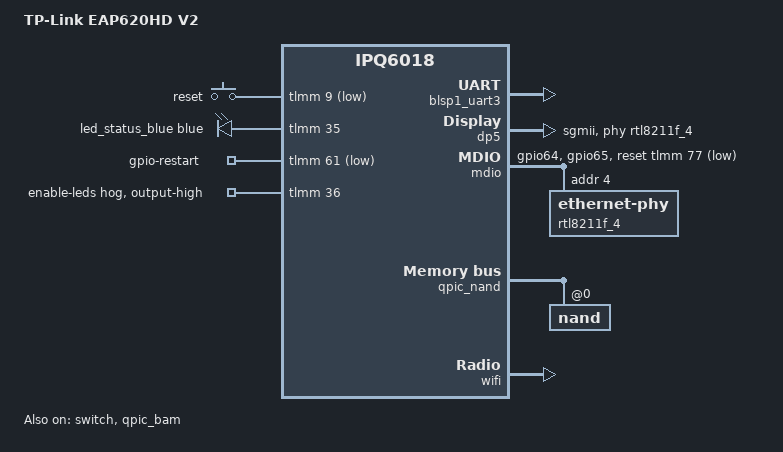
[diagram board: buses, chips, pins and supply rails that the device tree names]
// SPDX-License-Identifier: GPL-2.0-or-later OR MIT

/dts-v1/;

#include "ipq6018.dtsi"
#include "ipq6018-cp-cpu.dtsi"
#include "ipq6018-ess.dtsi"

#include <dt-bindings/gpio/gpio.h>
#include <dt-bindings/input/input.h>
#include <dt-bindings/leds/common.h>

/ {
	model = "TP-Link EAP620HD V2";
	compatible = "tplink,eap620hd-v2", "qcom,ipq6018";

	aliases {
		serial0 = &blsp1_uart3;
		led-boot = &led_status_blue;
                led-failsafe = &led_status_blue;
                led-running = &led_status_blue;
                led-upgrade = &led_status_blue;
	};

	chosen {
		stdout-path = "serial0:115200n8";
		bootargs-append = " ubi.block=0,rootfs root=/dev/ubiblock0_1";
	};

	keys {
		compatible = "gpio-keys";

		reset {
			label = "reset";
			gpios = <&tlmm 9 GPIO_ACTIVE_LOW>;
			linux,code = <KEY_RESTART>;
		};
	};

	leds {
		compatible = "gpio-leds";

                led_status_blue: status-blue {
                        function = LED_FUNCTION_STATUS;
                        gpios = <&tlmm 35 GPIO_ACTIVE_HIGH>;
                        color = <LED_COLOR_ID_BLUE>;
                };


	};

	gpio-restart {
		compatible = "gpio-restart";
		gpios = <&tlmm 61 GPIO_ACTIVE_LOW>;
		open-source;
	};
};

&blsp1_uart3 {
	pinctrl-0 = <&serial_3_pins>;
	pinctrl-names = "default";
	status = "okay";
};

&tlmm {
	mdio_pins: mdio-pins {
		mdc {
			pins = "gpio64";
			function = "mdc";
			drive-strength = <8>;
			bias-pull-up;
		};

		mdio {
			pins = "gpio65";
			function = "mdio";
			drive-strength = <8>;
			bias-pull-up;
		};
	};

	led_enable {
		gpio-hog;
		output-high;
		gpios = <36 GPIO_ACTIVE_HIGH>;
		line-name = "enable-leds";
	};
};

&dp5 {
	phy-handle = <&rtl8211f_4>;
	phy-mode = "sgmii";
	label = "lan";
	status = "okay";
};

&edma {
	status = "okay";
};

&mdio {
	pinctrl-0 = <&mdio_pins>;
	pinctrl-names = "default";
	reset-gpios = <&tlmm 77 GPIO_ACTIVE_LOW>;
	reset-delay-us = <10000>;
	reset-post-delay-us = <50000>;
	status = "okay";

	rtl8211f_4: ethernet-phy@4 {
		reg = <4>;
	};
};

&switch {
	switch_lan_bmp = <ESS_PORT5>;
	switch_mac_mode1 = <MAC_MODE_SGMII_CHANNEL0>;
	status = "okay";

	qcom,port_phyinfo {
		port@4 {
			port_id = <5>;
			phy_address = <4>;
		};
	};
};

&qpic_bam {
	status = "okay";
};

&qpic_nand {
	status = "okay";

	nand@0 {
		reg = <0>;

		nand-ecc-strength = <4>;
		nand-ecc-step-size = <512>;
		nand-bus-width = <8>;
	};
};

&wifi {
	ieee80211-freq-limit = <2402000 5835000>;
	qcom,ath11k-calibration-variant = "TP-Link-EAP620HD-v2";
	status = "okay";
};
